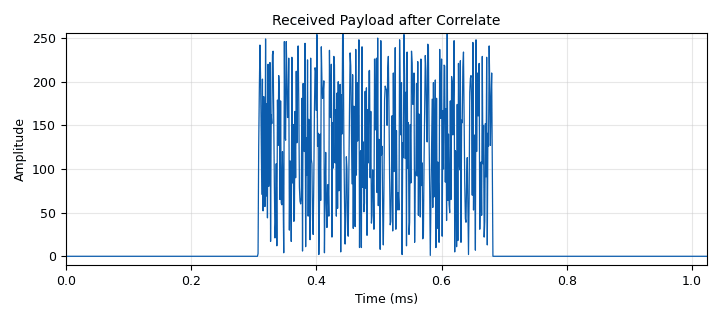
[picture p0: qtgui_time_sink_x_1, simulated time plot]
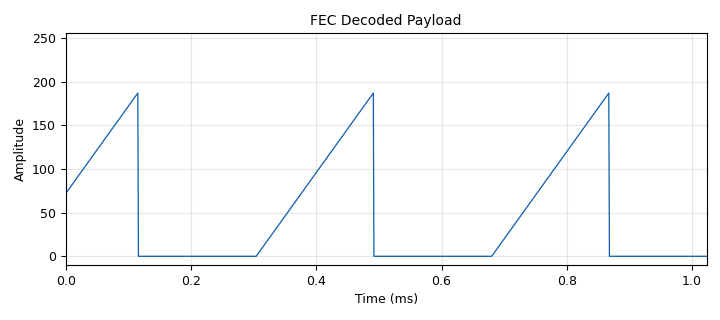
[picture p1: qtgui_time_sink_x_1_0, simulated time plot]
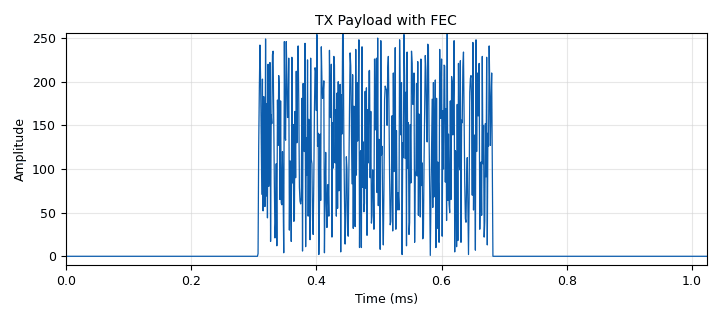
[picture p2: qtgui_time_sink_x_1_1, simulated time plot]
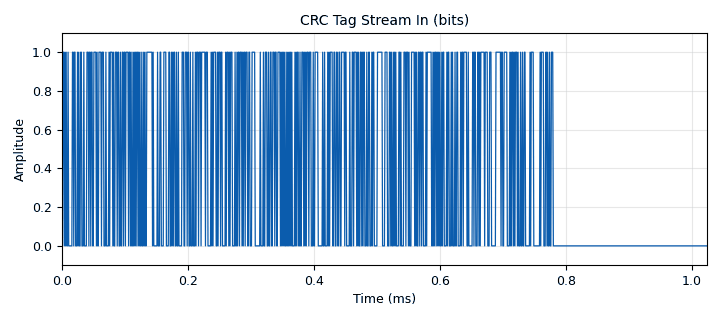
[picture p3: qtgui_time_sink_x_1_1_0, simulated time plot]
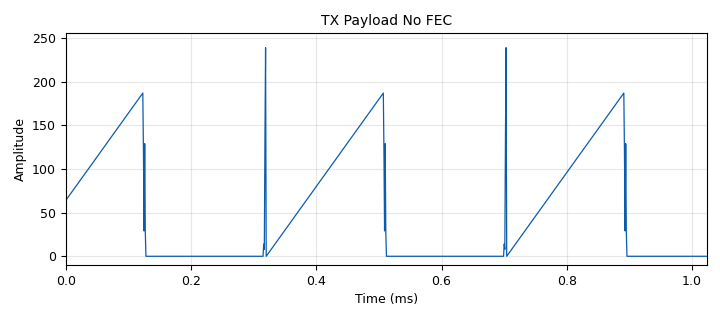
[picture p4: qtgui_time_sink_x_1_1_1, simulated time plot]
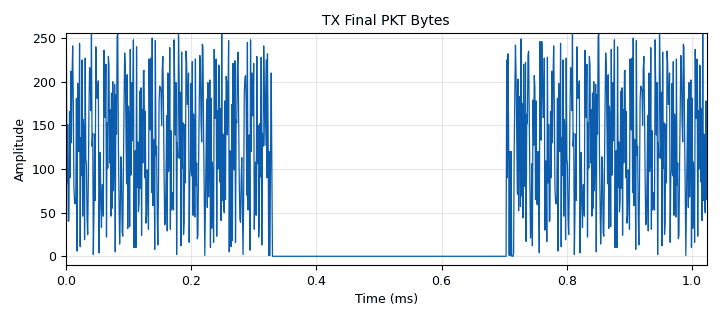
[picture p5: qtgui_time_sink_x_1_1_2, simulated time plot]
options:
  parameters:
    generate_options: qt_gui
    id: test_fec_use
    output_language: python
    title: Not titled yet
  states: {}

blocks:
- name: access_key
  id: variable
  parameters:
    value: '''11100001010110101110100010010011'''
  states: {}
- name: bps
  id: variable
  parameters:
    value: constellation.bits_per_symbol()
  states: {}
- name: constellation
  id: variable_constellation
  parameters:
    comment: Differentially encoded 4QAM constellation
    const_points: '[-1-1j, -1+1j, 1+1j, 1-1j]'
    dims: '1'
    normalization: digital.constellation.AMPLITUDE_NORMALIZATION
    precision: '8'
    rot_sym: '4'
    sym_map: '[0, 1, 2, 3]'
    type: calcdist
  states: {}
- name: dec_cc
  id: variable_cc_decoder_def
  parameters:
    framebits: frame_size*8
    k: k
    mode: fec.CC_STREAMING
    ndim: '0'
    padding: 'False'
    polys: polys
    rate: rate
    state_end: '-1'
    state_start: '0'
  states: {}
- name: enc_cc
  id: variable_cc_encoder_def
  parameters:
    framebits: frame_size*8
    k: k
    mode: fec.CC_STREAMING
    ndim: '0'
    padding: 'False'
    polys: polys
    rate: rate
    state_start: '0'
  states: {}
- name: frame_size
  id: variable
  parameters:
    value: packet_length
  states: {}
- name: hdr_format
  id: variable
  parameters:
    comment: header_format_default
    value: digital.header_format_default(access_key, thresh, bps)
  states: {}
- name: k
  id: variable
  parameters:
    value: '7'
  states: {}
- name: packet_groups
  id: variable
  parameters:
    value: '1'
  states: {}
- name: packet_length
  id: variable
  parameters:
    comment: |-
      Group together multiple packets
      to prevent flooding of PDU queue
    value: packet_groups*ts_packet_size
  states: {}
- name: polys
  id: variable
  parameters:
    value: '[109, 79]'
  states: {}
- name: rate
  id: variable
  parameters:
    value: '2'
  states: {}
- name: samp_rate
  id: variable
  parameters:
    value: int(1e6)
  states: {}
- name: thresh
  id: variable
  parameters:
    value: '0'
  states: {}
- name: ts_packet_size
  id: variable
  parameters:
    value: '188'
  states: {}
- name: blocks_char_to_float_1
  id: blocks_char_to_float
  parameters:
    scale: '1'
  states: {}
- name: blocks_repack_bits_bb_0_2
  id: blocks_repack_bits_bb
  parameters:
    endianness: gr.GR_MSB_FIRST
    k: '1'
    l: '8'
    len_tag_key: '"packet_len"'
  states: {}
- name: blocks_repack_bits_bb_1_0_0_0_0
  id: blocks_repack_bits_bb
  parameters:
    endianness: gr.GR_MSB_FIRST
    k: '1'
    l: '8'
    len_tag_key: '"packet_len"'
  states: {}
- name: blocks_repack_bits_bb_1_0_0_0_0_0
  id: blocks_repack_bits_bb
  parameters:
    endianness: gr.GR_MSB_FIRST
    k: '8'
    l: '1'
    len_tag_key: '"packet_len"'
  states: {}
- name: blocks_repack_bits_bb_1_0_0_0_0_0_0
  id: blocks_repack_bits_bb
  parameters:
    endianness: gr.GR_MSB_FIRST
    k: '1'
    l: '8'
    len_tag_key: '"packet_len"'
  states: {}
- name: blocks_repack_bits_bb_1_0_1
  id: blocks_repack_bits_bb
  parameters:
    endianness: gr.GR_MSB_FIRST
    k: '8'
    l: '1'
  states: {}
- name: blocks_stream_mux_0
  id: blocks_stream_mux
  parameters:
    lengths: (188, 188)
    type: byte
  states: {}
- name: blocks_stream_to_tagged_stream_0_0
  id: blocks_stream_to_tagged_stream
  parameters:
    len_tag_key: '"packet_len"'
    packet_len: packet_length
    type: byte
  states: {}
- name: blocks_tag_gate_0
  id: blocks_tag_gate
  parameters:
    propagate_tags: 'False'
    type: byte
  states: {}
- name: blocks_tagged_stream_mux_0
  id: blocks_tagged_stream_mux
  parameters:
    lengthtagname: '"packet_len"'
    ninputs: '2'
    type: byte
  states: {}
- name: blocks_throttle2_0
  id: blocks_throttle2
  parameters:
    samples_per_second: samp_rate/10
    type: byte
  states: {}
- name: blocks_uchar_to_float_1
  id: blocks_uchar_to_float
  parameters: {}
  states: {}
- name: blocks_uchar_to_float_1_0
  id: blocks_uchar_to_float
  parameters: {}
  states: {}
- name: blocks_uchar_to_float_1_1
  id: blocks_uchar_to_float
  parameters: {}
  states: {}
- name: blocks_uchar_to_float_1_1_0
  id: blocks_uchar_to_float
  parameters: {}
  states: {}
- name: blocks_uchar_to_float_1_1_1
  id: blocks_uchar_to_float
  parameters: {}
  states: {}
- name: blocks_uchar_to_float_1_1_2
  id: blocks_uchar_to_float
  parameters: {}
  states: {}
- name: blocks_vector_source_x_0
  id: blocks_vector_source_x
  parameters:
    repeat: 'True'
    type: byte
    vector: numpy.tile(numpy.arange(188, dtype=numpy.uint8), 1000).tolist()
  states: {}
- name: blocks_vector_source_x_0_0
  id: blocks_vector_source_x
  parameters:
    repeat: 'True'
    type: byte
    vector: numpy.zeros(188, dtype=numpy.uint8).tolist()
  states: {}
- name: digital_correlate_access_code_xx_ts_0_0_0
  id: digital_correlate_access_code_xx_ts
  parameters:
    access_code: access_key
    tagname: '"packet_len"'
    threshold: thresh
    type: byte
  states: {}
- name: digital_crc32_bb_0_0
  id: digital_crc32_bb
  parameters:
    check: 'False'
    lengthtagname: '"packet_len"'
    packed: 'True'
  states: {}
- name: digital_map_bb_0
  id: digital_map_bb
  parameters:
    map: '[-1, 1]'
  states: {}
- name: digital_protocol_formatter_bb_0
  id: digital_protocol_formatter_bb
  parameters:
    format: hdr_format
    len_tag_key: '"packet_len"'
  states: {}
- name: fec_extended_tagged_decoder_0
  id: fec_extended_tagged_decoder
  parameters:
    decoder_list: dec_cc
    lentagname: '"packet_len"'
    mtu: '1000'
    puncpat: '''11'''
  states: {}
- name: fec_extended_tagged_encoder_0_0
  id: fec_extended_tagged_encoder
  parameters:
    encoder_list: enc_cc
    lentagname: '"packet_len"'
    mtu: '1000'
    puncpat: '''11'''
  states: {}
- name: import_0
  id: import
  parameters:
    imports: import numpy
  states: {}
- name: puncpat
  id: parameter
  parameters:
    value: '''11'''
  states: {}
- name: qtgui_time_sink_x_1
  id: qtgui_time_sink_x
  parameters:
    name: '"Received Payload after Correlate"'
    size: '1024'
    srate: samp_rate
    type: float
    ymax: '256'
    ymin: '0'
  states: {}
- name: qtgui_time_sink_x_1_0
  id: qtgui_time_sink_x
  parameters:
    name: '"FEC Decoded Payload"'
    size: '1024'
    srate: samp_rate
    type: float
    ymax: '256'
    ymin: '0'
  states: {}
- name: qtgui_time_sink_x_1_1
  id: qtgui_time_sink_x
  parameters:
    name: '"TX Payload with FEC"'
    size: '1024'
    srate: samp_rate
    type: float
    ymax: '256'
    ymin: '0'
  states: {}
- name: qtgui_time_sink_x_1_1_0
  id: qtgui_time_sink_x
  parameters:
    name: '"CRC Tag Stream In (bits)"'
    size: '1024'
    srate: samp_rate
    type: float
    ymax: '1.1'
    ymin: '-0.1'
  states: {}
- name: qtgui_time_sink_x_1_1_1
  id: qtgui_time_sink_x
  parameters:
    name: '"TX Payload No FEC"'
    size: '1024'
    srate: samp_rate
    type: float
    ymax: '256'
    ymin: '0'
  states: {}
- name: qtgui_time_sink_x_1_1_2
  id: qtgui_time_sink_x
  parameters:
    name: '"TX Final PKT Bytes"'
    size: '1024'
    srate: samp_rate
    type: float
    ymax: '256'
    ymin: '0'
  states: {}
- name: virtual_sink_0
  id: virtual_sink
  parameters:
    stream_id: payload_bytes
  states: {}
- name: virtual_sink_0_0
  id: virtual_sink
  parameters:
    stream_id: header_bytes
  states: {}
- name: virtual_sink_1
  id: virtual_sink
  parameters:
    stream_id: fec_payload_bytes
  states: {}
- name: virtual_sink_1_0_0
  id: virtual_sink
  parameters:
    stream_id: pkt_bytes
  states: {}
- name: virtual_source_0
  id: virtual_source
  parameters:
    stream_id: pkt_bytes
  states: {}
- name: virtual_source_0_0_0
  id: virtual_source
  parameters:
    comment: |-
      This is the simulated RX chain after 
      demodulation, etc and packetization
    stream_id: header_bytes
  states: {}
- name: virtual_source_0_0_0_0
  id: virtual_source
  parameters:
    comment: |-
      This is the simulated RX chain after 
      demodulation, etc and packetization
    stream_id: payload_bytes
  states: {}
- name: virtual_source_0_0_1
  id: virtual_source
  parameters:
    stream_id: fec_payload_bytes
  states: {}

connections:
- [blocks_char_to_float_1, '0', fec_extended_tagged_decoder_0, '0']
- [blocks_repack_bits_bb_0_2, '0', blocks_uchar_to_float_1_0, '0']
- [blocks_repack_bits_bb_1_0_0_0_0, '0', blocks_uchar_to_float_1, '0']
- [blocks_repack_bits_bb_1_0_0_0_0_0, '0', fec_extended_tagged_encoder_0_0, '0']
- [blocks_repack_bits_bb_1_0_0_0_0_0_0, '0', blocks_uchar_to_float_1_1, '0']
- [blocks_repack_bits_bb_1_0_0_0_0_0_0, '0', virtual_sink_1, '0']
- [blocks_repack_bits_bb_1_0_1, '0', blocks_uchar_to_float_1_1_0, '0']
- [blocks_repack_bits_bb_1_0_1, '0', digital_correlate_access_code_xx_ts_0_0_0, '0']
- [blocks_stream_mux_0, '0', blocks_throttle2_0, '0']
- [blocks_stream_to_tagged_stream_0_0, '0', digital_crc32_bb_0_0, '0']
- [blocks_tag_gate_0, '0', blocks_repack_bits_bb_1_0_1, '0']
- [blocks_tagged_stream_mux_0, '0', blocks_uchar_to_float_1_1_2, '0']
- [blocks_tagged_stream_mux_0, '0', virtual_sink_1_0_0, '0']
- [blocks_throttle2_0, '0', blocks_stream_to_tagged_stream_0_0, '0']
- [blocks_uchar_to_float_1, '0', qtgui_time_sink_x_1, '0']
- [blocks_uchar_to_float_1_0, '0', qtgui_time_sink_x_1_0, '0']
- [blocks_uchar_to_float_1_1, '0', qtgui_time_sink_x_1_1, '0']
- [blocks_uchar_to_float_1_1_0, '0', qtgui_time_sink_x_1_1_0, '0']
- [blocks_uchar_to_float_1_1_1, '0', qtgui_time_sink_x_1_1_1, '0']
- [blocks_uchar_to_float_1_1_2, '0', qtgui_time_sink_x_1_1_2, '0']
- [blocks_vector_source_x_0, '0', blocks_stream_mux_0, '0']
- [blocks_vector_source_x_0_0, '0', blocks_stream_mux_0, '1']
- [digital_correlate_access_code_xx_ts_0_0_0, '0', blocks_repack_bits_bb_1_0_0_0_0, '0']
- [digital_correlate_access_code_xx_ts_0_0_0, '0', digital_map_bb_0, '0']
- [digital_crc32_bb_0_0, '0', virtual_sink_0, '0']
- [digital_map_bb_0, '0', blocks_char_to_float_1, '0']
- [digital_protocol_formatter_bb_0, '0', virtual_sink_0_0, '0']
- [fec_extended_tagged_decoder_0, '0', blocks_repack_bits_bb_0_2, '0']
- [fec_extended_tagged_encoder_0_0, '0', blocks_repack_bits_bb_1_0_0_0_0_0_0, '0']
- [virtual_source_0, '0', blocks_tag_gate_0, '0']
- [virtual_source_0_0_0, '0', blocks_tagged_stream_mux_0, '0']
- [virtual_source_0_0_0_0, '0', blocks_repack_bits_bb_1_0_0_0_0_0, '0']
- [virtual_source_0_0_0_0, '0', blocks_uchar_to_float_1_1_1, '0']
- [virtual_source_0_0_1, '0', blocks_tagged_stream_mux_0, '1']
- [virtual_source_0_0_1, '0', digital_protocol_formatter_bb_0, '0']

metadata:
  file_format: 1
  grc_version: 3.10.12.0
